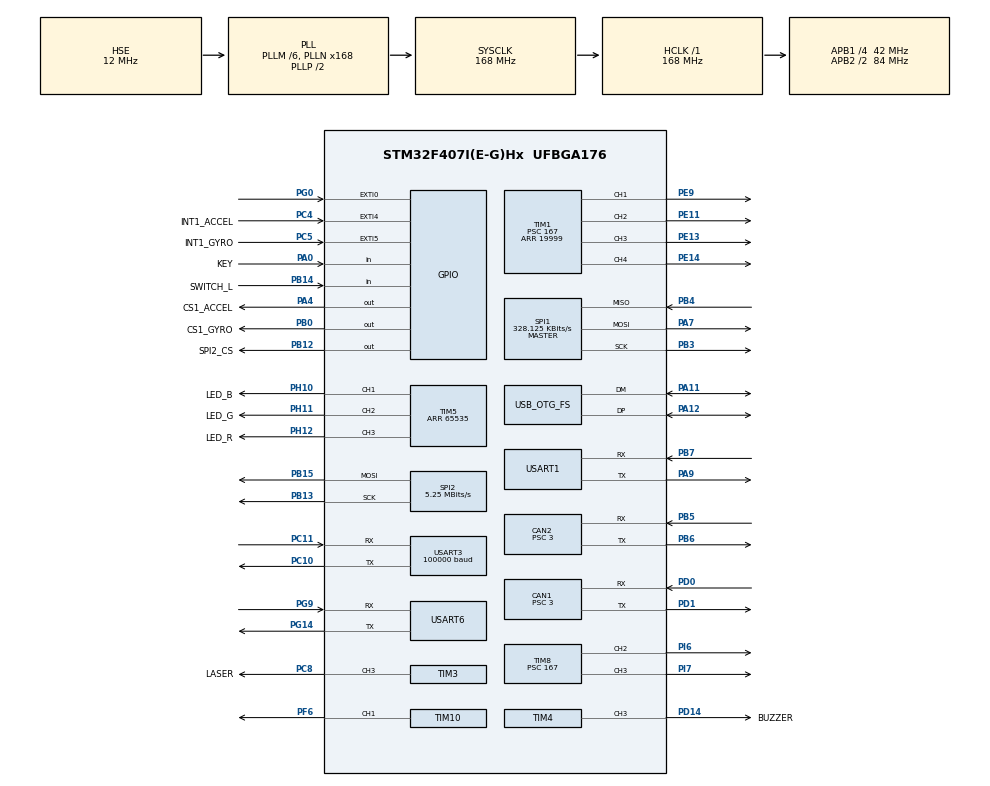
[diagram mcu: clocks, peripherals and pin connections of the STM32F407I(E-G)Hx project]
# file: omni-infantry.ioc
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ADC1.Channel-0\#ChannelRegularConversion=ADC_CHANNEL_TEMPSENSOR
ADC1.ClockPrescaler=ADC_CLOCK_SYNC_PCLK_DIV6
ADC1.NbrOfConversionFlag=1
ADC1.Rank-0\#ChannelRegularConversion=1
ADC1.SamplingTime-0\#ChannelRegularConversion=ADC_SAMPLETIME_3CYCLES
ADC1.master=1
CAN1.ABOM=ENABLE
CAN1.BS1=CAN_BS1_10TQ
CAN1.BS2=CAN_BS2_3TQ
CAN1.CalculateBaudRate=1000000
CAN1.CalculateTimeBit=1000
CAN1.CalculateTimeQuantum=71.42857142857143
CAN1.NART=ENABLE
CAN1.Prescaler=3
CAN1.RFLM=DISABLE
CAN2.ABOM=ENABLE
CAN2.BS1=CAN_BS1_10TQ
CAN2.BS2=CAN_BS2_3TQ
CAN2.CalculateBaudRate=1000000
CAN2.CalculateTimeBit=1000
CAN2.CalculateTimeQuantum=71.42857142857143
CAN2.NART=ENABLE
CAN2.Prescaler=3
Dma.Request0=SPI1_RX
Dma.Request1=SPI1_TX
Dma.Request2=USART3_RX
Dma.Request3=USART6_RX
Dma.Request4=USART6_TX
Dma.Request5=USART1_RX
Dma.Request6=USART1_TX
Dma.Request7=SPI2_TX
Dma.SPI1_RX.0.Direction=DMA_PERIPH_TO_MEMORY
Dma.SPI1_RX.0.FIFOMode=DMA_FIFOMODE_DISABLE
Dma.SPI1_RX.0.Instance=DMA2_Stream2
Dma.SPI1_RX.0.MemDataAlignment=DMA_MDATAALIGN_BYTE
Dma.SPI1_RX.0.MemInc=DMA_MINC_ENABLE
Dma.SPI1_RX.0.Mode=DMA_NORMAL
Dma.SPI1_RX.0.PeriphDataAlignment=DMA_PDATAALIGN_BYTE
Dma.SPI1_RX.0.PeriphInc=DMA_PINC_DISABLE
Dma.SPI1_RX.0.Priority=DMA_PRIORITY_VERY_HIGH
Dma.SPI1_TX.1.Direction=DMA_MEMORY_TO_PERIPH
Dma.SPI1_TX.1.FIFOMode=DMA_FIFOMODE_DISABLE
Dma.SPI1_TX.1.Instance=DMA2_Stream3
Dma.SPI1_TX.1.MemDataAlignment=DMA_MDATAALIGN_BYTE
Dma.SPI1_TX.1.MemInc=DMA_MINC_ENABLE
Dma.SPI1_TX.1.Mode=DMA_NORMAL
Dma.SPI1_TX.1.PeriphDataAlignment=DMA_PDATAALIGN_BYTE
Dma.SPI1_TX.1.PeriphInc=DMA_PINC_DISABLE
Dma.SPI1_TX.1.Priority=DMA_PRIORITY_HIGH
Dma.SPI2_TX.7.Direction=DMA_MEMORY_TO_PERIPH
Dma.SPI2_TX.7.FIFOMode=DMA_FIFOMODE_DISABLE
Dma.SPI2_TX.7.Instance=DMA1_Stream4
Dma.SPI2_TX.7.MemDataAlignment=DMA_MDATAALIGN_BYTE
Dma.SPI2_TX.7.MemInc=DMA_MINC_ENABLE
Dma.SPI2_TX.7.Mode=DMA_NORMAL
Dma.SPI2_TX.7.PeriphDataAlignment=DMA_PDATAALIGN_BYTE
Dma.SPI2_TX.7.PeriphInc=DMA_PINC_DISABLE
Dma.SPI2_TX.7.Priority=DMA_PRIORITY_LOW
Dma.USART1_RX.5.Direction=DMA_PERIPH_TO_MEMORY
Dma.USART1_RX.5.FIFOMode=DMA_FIFOMODE_DISABLE
Dma.USART1_RX.5.Instance=DMA2_Stream5
Dma.USART1_RX.5.MemDataAlignment=DMA_MDATAALIGN_BYTE
Dma.USART1_RX.5.MemInc=DMA_MINC_ENABLE
Dma.USART1_RX.5.Mode=DMA_NORMAL
Dma.USART1_RX.5.PeriphDataAlignment=DMA_PDATAALIGN_BYTE
Dma.USART1_RX.5.PeriphInc=DMA_PINC_DISABLE
Dma.USART1_RX.5.Priority=DMA_PRIORITY_HIGH
Dma.USART1_TX.6.Direction=DMA_MEMORY_TO_PERIPH
Dma.USART1_TX.6.FIFOMode=DMA_FIFOMODE_DISABLE
Dma.USART1_TX.6.Instance=DMA2_Stream7
Dma.USART1_TX.6.MemDataAlignment=DMA_MDATAALIGN_BYTE
Dma.USART1_TX.6.MemInc=DMA_MINC_ENABLE
Dma.USART1_TX.6.Mode=DMA_NORMAL
Dma.USART1_TX.6.PeriphDataAlignment=DMA_PDATAALIGN_BYTE
Dma.USART1_TX.6.PeriphInc=DMA_PINC_DISABLE
Dma.USART1_TX.6.Priority=DMA_PRIORITY_MEDIUM
Dma.USART3_RX.2.Direction=DMA_PERIPH_TO_MEMORY
Dma.USART3_RX.2.FIFOMode=DMA_FIFOMODE_DISABLE
Dma.USART3_RX.2.Instance=DMA1_Stream1
Dma.USART3_RX.2.MemDataAlignment=DMA_MDATAALIGN_BYTE
Dma.USART3_RX.2.MemInc=DMA_MINC_ENABLE
Dma.USART3_RX.2.Mode=DMA_NORMAL
Dma.USART3_RX.2.PeriphDataAlignment=DMA_PDATAALIGN_BYTE
Dma.USART3_RX.2.PeriphInc=DMA_PINC_DISABLE
Dma.USART3_RX.2.Priority=DMA_PRIORITY_HIGH
Dma.USART6_RX.3.Direction=DMA_PERIPH_TO_MEMORY
Dma.USART6_RX.3.FIFOMode=DMA_FIFOMODE_ENABLE
Dma.USART6_RX.3.FIFOThreshold=DMA_FIFO_THRESHOLD_FULL
Dma.USART6_RX.3.Instance=DMA2_Stream1
Dma.USART6_RX.3.MemBurst=DMA_MBURST_SINGLE
Dma.USART6_RX.3.MemDataAlignment=DMA_MDATAALIGN_BYTE
Dma.USART6_RX.3.MemInc=DMA_MINC_ENABLE
Dma.USART6_RX.3.Mode=DMA_NORMAL
Dma.USART6_RX.3.PeriphBurst=DMA_PBURST_SINGLE
Dma.USART6_RX.3.PeriphDataAlignment=DMA_PDATAALIGN_BYTE
Dma.USART6_RX.3.PeriphInc=DMA_PINC_DISABLE
Dma.USART6_RX.3.Priority=DMA_PRIORITY_HIGH
Dma.USART6_TX.4.Direction=DMA_MEMORY_TO_PERIPH
Dma.USART6_TX.4.FIFOMode=DMA_FIFOMODE_DISABLE
Dma.USART6_TX.4.Instance=DMA2_Stream6
Dma.USART6_TX.4.MemDataAlignment=DMA_MDATAALIGN_BYTE
Dma.USART6_TX.4.MemInc=DMA_MINC_ENABLE
Dma.USART6_TX.4.Mode=DMA_NORMAL
Dma.USART6_TX.4.PeriphDataAlignment=DMA_PDATAALIGN_BYTE
Dma.USART6_TX.4.PeriphInc=DMA_PINC_DISABLE
Dma.USART6_TX.4.Priority=DMA_PRIORITY_MEDIUM
FREERTOS.INCLUDE_eTaskGetState=1
FREERTOS.INCLUDE_pcTaskGetTaskName=1
FREERTOS.INCLUDE_uxTaskGetStackHighWaterMark=0
FREERTOS.INCLUDE_vTaskCleanUpResources=1
FREERTOS.INCLUDE_vTaskDelayUntil=1
FREERTOS.INCLUDE_xEventGroupSetBitFromISR=0
FREERTOS.INCLUDE_xQueueGetMutexHolder=1
FREERTOS.INCLUDE_xSemaphoreGetMutexHolder=1
FREERTOS.INCLUDE_xTaskAbortDelay=1
FREERTOS.INCLUDE_xTaskGetCurrentTaskHandle=1
FREERTOS.INCLUDE_xTaskGetHandle=1
FREERTOS.Tasks01=defaultTask,0,128,StartDefaultTask,Default,NULL,Dynamic,NULL,NULL;CalibrateTask,0,512,calibrate_task,As weak,NULL,Dynamic,NULL,NULL;ChassisTask,-2,512,chassis_task,As weak,NULL,Dynamic,NULL,NULL;gimbalTask,2,512,gimbal_task,As weak,NULL,Dynamic,NULL,NULL;imuTask,-3,512,INS_task,As weak,NULL,Dynamic,NULL,NULL;detectTask,-3,128,detect_task,As weak,NULL,Dynamic,NULL,NULL
FREERTOS.configCHECK_FOR_STACK_OVERFLOW=0
FREERTOS.configTOTAL_HEAP_SIZE=24576
FREERTOS.configUSE_NEWLIB_REENTRANT=0
Mcu.Family=STM32F4
Mcu.Name=STM32F407I(E-G)Hx
Mcu.Package=UFBGA176
NVIC.CAN1_RX0_IRQn=true\:5\:0\:false\:false\:true\:true\:true\:true\:true
NVIC.CAN2_RX0_IRQn=true\:5\:0\:false\:false\:true\:true\:true\:true\:true
NVIC.DMA1_Stream1_IRQn=true\:5\:0\:false\:false\:true\:true\:false\:true\:true
NVIC.DMA1_Stream4_IRQn=true\:5\:0\:false\:false\:true\:true\:false\:true\:true
NVIC.DMA2_Stream1_IRQn=true\:5\:0\:false\:false\:true\:true\:false\:true\:true
NVIC.DMA2_Stream2_IRQn=true\:5\:0\:false\:false\:false\:true\:false\:true\:true
NVIC.DMA2_Stream3_IRQn=true\:5\:0\:false\:false\:true\:true\:false\:true\:true
NVIC.DMA2_Stream5_IRQn=true\:5\:0\:false\:false\:true\:true\:false\:true\:true
NVIC.DMA2_Stream6_IRQn=true\:5\:0\:false\:false\:true\:true\:false\:true\:true
NVIC.DMA2_Stream7_IRQn=true\:5\:0\:false\:false\:true\:true\:false\:true\:true
NVIC.EXTI0_IRQn=true\:5\:0\:false\:false\:true\:true\:true\:true\:true
NVIC.EXTI4_IRQn=true\:5\:0\:false\:false\:true\:true\:true\:true\:true
NVIC.EXTI9_5_IRQn=true\:5\:0\:false\:false\:true\:true\:true\:true\:true
NVIC.OTG_FS_IRQn=true\:5\:0\:false\:false\:true\:true\:false\:true\:true
NVIC.PriorityGroup=NVIC_PRIORITYGROUP_4
NVIC.USART1_IRQn=true\:5\:0\:false\:false\:true\:true\:true\:true\:true
NVIC.USART3_IRQn=true\:5\:0\:false\:false\:false\:true\:true\:true\:true
NVIC.USART6_IRQn=true\:5\:0\:false\:false\:false\:true\:true\:true\:true
PA0-WKUP.GPIO_Label=KEY
PA0-WKUP.GPIO_PuPd=GPIO_PULLUP
PA0-WKUP.Signal=GPIO_Input
PA11.Mode=Device_Only
PA11.Signal=USB_OTG_FS_DM
PA12.Mode=Device_Only
PA12.Signal=USB_OTG_FS_DP
PA13.Mode=Serial_Wire
PA13.Signal=SYS_JTMS-SWDIO
PA14.Mode=Serial_Wire
PA14.Signal=SYS_JTCK-SWCLK
PA4.GPIO_Label=CS1_ACCEL
PA4.GPIO_PuPd=GPIO_PULLUP
PA4.GPIO_Speed=GPIO_SPEED_FREQ_HIGH
PA4.PinState=GPIO_PIN_SET
PA4.Signal=GPIO_Output
PA7.GPIO_PuPd=GPIO_PULLUP
PA7.Mode=Full_Duplex_Master
PA7.Signal=SPI1_MOSI
PA9.Mode=Asynchronous
PA9.Signal=USART1_TX
PB0.GPIO_Label=CS1_GYRO
PB0.GPIO_PuPd=GPIO_PULLUP
PB0.GPIO_Speed=GPIO_SPEED_FREQ_HIGH
PB0.PinState=GPIO_PIN_SET
PB0.Signal=GPIO_Output
PB12.GPIO_Label=SPI2_CS
PB12.GPIO_PuPd=GPIO_PULLUP
PB12.GPIO_Speed=GPIO_SPEED_FREQ_MEDIUM
PB12.PinState=GPIO_PIN_SET
PB12.Signal=GPIO_Output
PB13.Mode=TX_Only_Simplex_Unidirect_Master
PB13.Signal=SPI2_SCK
PB14.GPIO_Label=SWITCH_L
PB14.GPIO_PuPd=GPIO_PULLDOWN
PB14.Signal=GPIO_Input
PB15.Mode=TX_Only_Simplex_Unidirect_Master
PB15.Signal=SPI2_MOSI
PB3.GPIO_PuPd=GPIO_PULLUP
PB3.Mode=Full_Duplex_Master
PB3.Signal=SPI1_SCK
PB4.GPIO_PuPd=GPIO_PULLUP
PB4.Mode=Full_Duplex_Master
PB4.Signal=SPI1_MISO
PB5.GPIO_PuPd=GPIO_PULLUP
PB5.Mode=CAN_Activate
PB5.Signal=CAN2_RX
PB6.GPIO_PuPd=GPIO_PULLUP
PB6.Mode=CAN_Activate
PB6.Signal=CAN2_TX
PB7.Mode=Asynchronous
PB7.Signal=USART1_RX
PC10.Mode=Asynchronous
PC10.Signal=USART3_TX
PC11.Mode=Asynchronous
PC11.Signal=USART3_RX
PC4.GPIO_Label=INT1_ACCEL
PC4.GPIO_ModeDefaultEXTI=GPIO_MODE_IT_FALLING
PC4.GPIO_PuPd=GPIO_PULLUP
PC4.Signal=GPXTI4
PC5.GPIO_Label=INT1_GYRO
PC5.GPIO_ModeDefaultEXTI=GPIO_MODE_IT_FALLING
PC5.GPIO_PuPd=GPIO_PULLUP
PC5.Signal=GPXTI5
PC8.GPIO_Label=LASER
PC8.GPIO_PuPd=GPIO_PULLUP
PC8.GPIO_Speed=GPIO_SPEED_FREQ_HIGH
PC8.Signal=S_TIM3_CH3
PD0.GPIO_PuPd=GPIO_PULLUP
PD0.Mode=CAN_Activate
PD0.Signal=CAN1_RX
PD1.GPIO_PuPd=GPIO_PULLUP
PD1.Mode=CAN_Activate
PD1.Signal=CAN1_TX
PD14.GPIO_Label=BUZZER
PD14.GPIO_PuPd=GPIO_PULLUP
PD14.GPIO_Speed=GPIO_SPEED_FREQ_VERY_HIGH
PD14.Signal=S_TIM4_CH3
PE11.Signal=S_TIM1_CH2
PE13.Signal=S_TIM1_CH3
PE14.Signal=S_TIM1_CH4
PE9.GPIO_PuPd=GPIO_PULLUP
PE9.GPIO_Speed=GPIO_SPEED_FREQ_HIGH
PE9.Signal=S_TIM1_CH1
PF6.GPIO_PuPd=GPIO_PULLUP
PF6.GPIO_Speed=GPIO_SPEED_FREQ_HIGH
PF6.Signal=S_TIM10_CH1
PG0.GPIO_ModeDefaultEXTI=GPIO_MODE_IT_FALLING
PG0.GPIO_PuPd=GPIO_PULLUP
PG0.Signal=GPXTI0
PG14.Mode=Asynchronous
PG14.Signal=USART6_TX
PG9.Mode=Asynchronous
PG9.Signal=USART6_RX
PH0-OSC_IN.Mode=HSE-External-Oscillator
PH0-OSC_IN.Signal=RCC_OSC_IN
PH1-OSC_OUT.Mode=HSE-External-Oscillator
PH1-OSC_OUT.Signal=RCC_OSC_OUT
PH10.GPIO_Label=LED_B
PH10.GPIO_PuPd=GPIO_PULLUP
PH10.GPIO_Speed=GPIO_SPEED_FREQ_HIGH
PH10.Signal=S_TIM5_CH1
PH11.GPIO_Label=LED_G
PH11.GPIO_PuPd=GPIO_PULLUP
PH11.GPIO_Speed=GPIO_SPEED_FREQ_HIGH
PH11.Signal=S_TIM5_CH2
PH12.GPIO_Label=LED_R
PH12.GPIO_PuPd=GPIO_PULLUP
PH12.GPIO_Speed=GPIO_SPEED_FREQ_HIGH
PH12.Signal=S_TIM5_CH3
PI6.GPIO_PuPd=GPIO_PULLUP
PI6.GPIO_Speed=GPIO_SPEED_FREQ_VERY_HIGH
PI6.Signal=S_TIM8_CH2
PI7.GPIO_PuPd=GPIO_PULLUP
PI7.GPIO_Speed=GPIO_SPEED_FREQ_VERY_HIGH
PI7.Signal=S_TIM8_CH3
ProjectManager.HeapSize=0x2000
ProjectManager.StackSize=0x2000
ProjectManager.TargetToolchain=STM32CubeIDE
RCC.48MHZClocksFreq_Value=48000000
RCC.AHBFreq_Value=168000000
RCC.APB1CLKDivider=RCC_HCLK_DIV4
RCC.APB1Freq_Value=42000000
RCC.APB1TimFreq_Value=84000000
RCC.APB2CLKDivider=RCC_HCLK_DIV2
RCC.APB2Freq_Value=84000000
RCC.APB2TimCLKDivider=2
RCC.APB2TimFreq_Value=168000000
RCC.CortexFreq_Value=168000000
RCC.HCLKFreq_Value=168000000
RCC.HSE_VALUE=12000000
RCC.HSI_VALUE=16000000
RCC.LSE_VALUE=32768
RCC.PLLM=6
RCC.PLLN=168
RCC.PLLQ=7
RCC.RCC_RTC_Clock_SourceVirtual=RCC_RTCCLKSOURCE_HSE_DIV30
RCC.RCC_RTC_Clock_Source_FROM_HSE=RCC_RTCCLKSOURCE_HSE_DIV30
RCC.SYSCLKFreq_VALUE=168000000
RCC.SYSCLKSource=RCC_SYSCLKSOURCE_PLLCLK
RCC.VCOOutputFreq_Value=336000000
SH.S_TIM10_CH1.0=TIM10_CH1,PWM Generation1 CH1
SH.S_TIM1_CH1.0=TIM1_CH1,PWM Generation1 CH1
SH.S_TIM1_CH2.0=TIM1_CH2,PWM Generation2 CH2
SH.S_TIM1_CH3.0=TIM1_CH3,PWM Generation3 CH3
SH.S_TIM1_CH4.0=TIM1_CH4,PWM Generation4 CH4
SH.S_TIM3_CH3.0=TIM3_CH3,PWM Generation3 CH3
SH.S_TIM4_CH3.0=TIM4_CH3,PWM Generation3 CH3
SH.S_TIM5_CH1.0=TIM5_CH1,PWM Generation1 CH1
SH.S_TIM5_CH2.0=TIM5_CH2,PWM Generation2 CH2
SH.S_TIM5_CH3.0=TIM5_CH3,PWM Generation3 CH3
SH.S_TIM8_CH2.0=TIM8_CH2,PWM Generation2 CH2
SH.S_TIM8_CH3.0=TIM8_CH3,PWM Generation3 CH3
SPI1.BaudRatePrescaler=SPI_BAUDRATEPRESCALER_256
SPI1.CLKPhase=SPI_PHASE_2EDGE
SPI1.CLKPolarity=SPI_POLARITY_HIGH
SPI1.CalculateBaudRate=328.125 KBits/s
SPI1.Direction=SPI_DIRECTION_2LINES
SPI1.Mode=SPI_MODE_MASTER
SPI1.VirtualType=VM_MASTER
SPI2.BaudRatePrescaler=SPI_BAUDRATEPRESCALER_8
SPI2.CLKPhase=SPI_PHASE_2EDGE
SPI2.CalculateBaudRate=5.25 MBits/s
SPI2.Direction=SPI_DIRECTION_2LINES
SPI2.Mode=SPI_MODE_MASTER
SPI2.VirtualType=VM_MASTER
TIM1.Channel-PWM\ Generation1\ CH1=TIM_CHANNEL_1
TIM1.Channel-PWM\ Generation2\ CH2=TIM_CHANNEL_2
TIM1.Channel-PWM\ Generation3\ CH3=TIM_CHANNEL_3
TIM1.Channel-PWM\ Generation4\ CH4=TIM_CHANNEL_4
TIM1.Period=19999
TIM1.Prescaler=167
TIM1.Pulse-PWM\ Generation1\ CH1=1000
TIM10.Channel=TIM_CHANNEL_1
TIM10.Period=4999
TIM3.Channel-PWM\ Generation3\ CH3=TIM_CHANNEL_3
TIM3.Period=8399
TIM4.Channel-PWM\ Generation3\ CH3=TIM_CHANNEL_3
TIM4.Prescaler=167
TIM5.Channel-PWM\ Generation1\ CH1=TIM_CHANNEL_1
TIM5.Channel-PWM\ Generation2\ CH2=TIM_CHANNEL_2
TIM5.Channel-PWM\ Generation3\ CH3=TIM_CHANNEL_3
TIM5.Period=65535
TIM8.AutoReloadPreload=TIM_AUTORELOAD_PRELOAD_ENABLE
TIM8.Channel-PWM\ Generation2\ CH2=TIM_CHANNEL_2
TIM8.Channel-PWM\ Generation3\ CH3=TIM_CHANNEL_3
TIM8.Period=3996
TIM8.Prescaler=167
TIM8.Pulse-PWM\ Generation2\ CH2=1500
TIM8.Pulse-PWM\ Generation3\ CH3=1500
USART1.VirtualMode=VM_ASYNC
USART3.BaudRate=100000
USART3.Mode=MODE_RX
USART3.Parity=PARITY_EVEN
USART3.VirtualMode=VM_ASYNC
USART6.VirtualMode=VM_ASYNC
USB_DEVICE.CLASS_NAME_FS=CDC
USB_DEVICE.VirtualMode-CDC_FS=Cdc
USB_DEVICE.VirtualModeFS=Cdc_FS
USB_OTG_FS.VirtualMode=Device_Only
VP_ADC1_TempSens_Input.Mode=IN-TempSens
VP_ADC1_Vref_Input.Mode=IN-Vrefint
VP_CRC_VS_CRC.Mode=CRC_Activate
VP_FREERTOS_VS_CMSIS_V1.Mode=CMSIS_V1
VP_RNG_VS_RNG.Mode=RNG_Activate
VP_TIM10_VS_ClockSourceINT.Mode=Enable_Timer
VP_TIM4_VS_ClockSourceINT.Mode=Internal
VP_TIM5_VS_ClockSourceINT.Mode=Internal
VP_USB_DEVICE_VS_USB_DEVICE_CDC_FS.Mode=CDC_FS
board=custom

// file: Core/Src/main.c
/* USER CODE BEGIN Header */
/**
  ******************************************************************************
  * @file           : main.c
  * @brief          : Main program body
  ******************************************************************************
  * @attention
  *
  * Copyright (c) 2022 STMicroelectronics.
  * All rights reserved.
  *
  * This software is licensed under terms that can be found in the LICENSE file
  * in the root directory of this software component.
  * If no LICENSE file comes with this software, it is provided AS-IS.
  *
  ******************************************************************************
  */
/* USER CODE END Header */
#include "main.h"
#include "cmsis_os.h"
#include "adc.h"
#include "can.h"
#include "crc.h"
#include "dma.h"
#include "rng.h"
#include "spi.h"
#include "tim.h"
#include "usart.h"
#include "usb_device.h"
#include "gpio.h"

/* USER CODE BEGIN Includes */
#include "bsp_can.h"
#include "bsp_delay.h"
#include "bsp_usart.h"
#include "remote.h"
#include "Referee.h"
#include "Calibrate.h"
#include "Lora.h"
/* USER CODE END Includes */

/* USER CODE BEGIN PTD */
extern uint8_t usart1_receive_buf[200];
/* USER CODE END PTD */

void SystemClock_Config(void);
void MX_FREERTOS_Init(void);

int main(void)
{

  /* MCU Configuration--------------------------------------------------------*/

  /* Reset of all peripherals, Initializes the Flash interface and the Systick. */
  HAL_Init();

  /* Configure the system clock */
  SystemClock_Config();

  /* Initialize all configured peripherals */
  MX_GPIO_Init();
  MX_DMA_Init();
  MX_CAN1_Init();
  MX_CAN2_Init();
  MX_SPI1_Init();
  MX_TIM4_Init();
  MX_TIM5_Init();
  MX_USART3_UART_Init();
  MX_USART6_UART_Init();
  MX_TIM3_Init();
  MX_TIM10_Init();
  MX_ADC1_Init();
  MX_CRC_Init();
  MX_RNG_Init();
  MX_TIM1_Init();
  MX_TIM8_Init();
  MX_USART1_UART_Init();
  MX_SPI2_Init();
  /* USER CODE BEGIN 2 */
    can_filter_init();
    delay_init();
    HAL_TIM_PWM_Start(&htim8,TIM_CHANNEL_3);
    HAL_TIM_PWM_Start(&htim8,TIM_CHANNEL_2);
    HAL_TIM_Base_Start(&htim1);
    HAL_TIM_PWM_Start(&htim1,TIM_CHANNEL_3);
    HAL_TIM_PWM_Start(&htim1,TIM_CHANNEL_4);
    usart6_init(&usart6_buf[0], REFEREE_BUFFER_SIZE);
    usart1_init(&usart1_buf[0], REFEREE_BUFFER_SIZE);

    cali_param_init();
    remote_control_init();

    LoRa_T_P_Attach(1, 1);
  /* USER CODE END 2 */

  /* Call init function for freertos objects (in freertos.c) */
  MX_FREERTOS_Init();

  /* Start scheduler */
  osKernelStart();

  /* We should never get here as control is now taken by the scheduler */
  /* Infinite loop */
  while (1)
  {

  }
}

void SystemClock_Config(void)
{
  RCC_OscInitTypeDef RCC_OscInitStruct = {0};
  RCC_ClkInitTypeDef RCC_ClkInitStruct = {0};

  /** Configure the main internal regulator output voltage
  */
  __HAL_RCC_PWR_CLK_ENABLE();
  __HAL_PWR_VOLTAGESCALING_CONFIG(PWR_REGULATOR_VOLTAGE_SCALE1);

  /** Initializes the RCC Oscillators according to the specified parameters
  * in the RCC_OscInitTypeDef structure.
  */
  RCC_OscInitStruct.OscillatorType = RCC_OSCILLATORTYPE_HSE;
  RCC_OscInitStruct.HSEState = RCC_HSE_ON;
  RCC_OscInitStruct.PLL.PLLState = RCC_PLL_ON;
  RCC_OscInitStruct.PLL.PLLSource = RCC_PLLSOURCE_HSE;
  RCC_OscInitStruct.PLL.PLLM = 6;
  RCC_OscInitStruct.PLL.PLLN = 168;
  RCC_OscInitStruct.PLL.PLLP = RCC_PLLP_DIV2;
  RCC_OscInitStruct.PLL.PLLQ = 7;
  if (HAL_RCC_OscConfig(&RCC_OscInitStruct) != HAL_OK)
  {
    Error_Handler();
  }

  /** Initializes the CPU, AHB and APB buses clocks
  */
  RCC_ClkInitStruct.ClockType = RCC_CLOCKTYPE_HCLK|RCC_CLOCKTYPE_SYSCLK
                              |RCC_CLOCKTYPE_PCLK1|RCC_CLOCKTYPE_PCLK2;
  RCC_ClkInitStruct.SYSCLKSource = RCC_SYSCLKSOURCE_PLLCLK;
  RCC_ClkInitStruct.AHBCLKDivider = RCC_SYSCLK_DIV1;
  RCC_ClkInitStruct.APB1CLKDivider = RCC_HCLK_DIV4;
  RCC_ClkInitStruct.APB2CLKDivider = RCC_HCLK_DIV2;

  if (HAL_RCC_ClockConfig(&RCC_ClkInitStruct, FLASH_LATENCY_5) != HAL_OK)
  {
    Error_Handler();
  }
}

void Error_Handler(void)
{
  /* USER CODE BEGIN Error_Handler_Debug */
  /* User can add his own implementation to report the HAL error return state */
//  __disable_irq();
//  while (1)
//  {
//  }
  /* USER CODE END Error_Handler_Debug */
}

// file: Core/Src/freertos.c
/* USER CODE BEGIN Header */
/**
  ******************************************************************************
  * File Name          : freertos.c
  * Description        : Code for freertos applications
  ******************************************************************************
  * @attention
  *
  * Copyright (c) 2022 STMicroelectronics.
  * All rights reserved.
  *
  * This software is licensed under terms that can be found in the LICENSE file
  * in the root directory of this software component.
  * If no LICENSE file comes with this software, it is provided AS-IS.
  *
  ******************************************************************************
  */
/* USER CODE END Header */

#include "FreeRTOS.h"
#include "task.h"
#include "main.h"
#include "cmsis_os.h"

osThreadId defaultTaskHandle;
osThreadId CalibrateTaskHandle;
osThreadId ChassisTaskHandle;
osThreadId gimbalTaskHandle;
osThreadId imuTaskHandle;
osThreadId detectTaskHandle;
osThreadId ledTaskHandle;

/* USER CODE BEGIN FunctionPrototypes */
osThreadId usb_task_handle;
osThreadId decode_task_handle;
osThreadId cap_task_handle;
osThreadId UI_task_handle;
osThreadId servo_task_handle;
/* USER CODE END FunctionPrototypes */

void StartDefaultTask(void const * argument);
void calibrate_task(void const * argument);
void chassis_task(void const * argument);
void gimbal_task(void const * argument);
void INS_task(void const * argument);
void detect_task(void const * argument);
void led_task(void const * argument);
extern void MX_USB_DEVICE_Init(void);
void MX_FREERTOS_Init(void); /* (MISRA C 2004 rule 8.1) */
void UI_paint_task(void const*argument);
void cap_task(void const *pvParameters);
void servo_task(void const *pvParameters);
/* GetIdleTaskMemory prototype (linked to static allocation support) */
void vApplicationGetIdleTaskMemory( StaticTask_t **ppxIdleTaskTCBBuffer, StackType_t **ppxIdleTaskStackBuffer, uint32_t *pulIdleTaskStackSize );

/* USER CODE BEGIN GET_IDLE_TASK_MEMORY */
static StaticTask_t xIdleTaskTCBBuffer;
static StackType_t xIdleStack[configMINIMAL_STACK_SIZE];

void vApplicationGetIdleTaskMemory( StaticTask_t **ppxIdleTaskTCBBuffer, StackType_t **ppxIdleTaskStackBuffer, uint32_t *pulIdleTaskStackSize )
{
  *ppxIdleTaskTCBBuffer = &xIdleTaskTCBBuffer;
  *ppxIdleTaskStackBuffer = &xIdleStack[0];
  *pulIdleTaskStackSize = configMINIMAL_STACK_SIZE;
  /* place for user code */
}
QueueHandle_t CDC_send_queue;

_Noreturn extern void usb_task(void const * argument);
extern void decode_task(void const * arg);
/* USER CODE END GET_IDLE_TASK_MEMORY */

void MX_FREERTOS_Init(void) {

  /* Create the thread(s) */
  /* definition and creation of defaultTask */
  osThreadDef(defaultTask, StartDefaultTask, osPriorityNormal, 0, 128);
  defaultTaskHandle = osThreadCreate(osThread(defaultTask), NULL);

  /* definition and creation of CalibrateTask */
  osThreadDef(CalibrateTask, calibrate_task, osPriorityNormal, 0, 512);
  CalibrateTaskHandle = osThreadCreate(osThread(CalibrateTask), NULL);

  /* definition and creation of ChassisTask */
  osThreadDef(ChassisTask, chassis_task, osPriorityLow, 0, 512);
  ChassisTaskHandle = osThreadCreate(osThread(ChassisTask), NULL);

  /* definition and creation of gimbalTask */
  osThreadDef(gimbalTask, gimbal_task, osPriorityHigh, 0, 512);
  gimbalTaskHandle = osThreadCreate(osThread(gimbalTask), NULL);

  /* definition and creation of imuTask */
  osThreadDef(imuTask, INS_task, osPriorityIdle, 0, 512);
  imuTaskHandle = osThreadCreate(osThread(imuTask), NULL);

  /* definition and creation of detectTask */
  osThreadDef(detectTask, detect_task, osPriorityIdle, 0, 128);
  detectTaskHandle = osThreadCreate(osThread(detectTask), NULL);

  /* USER CODE BEGIN RTOS_THREADS */
  /* add threads, ... */
    osThreadDef(USBtask,usb_task,osPriorityHigh,0,128);
    usb_task_handle= osThreadCreate(osThread(USBtask),NULL);
    osThreadDef(DecodeTask, decode_task, osPriorityHigh, 0, 128);
    decode_task_handle = osThreadCreate(osThread(DecodeTask), NULL);
    CDC_send_queue = xQueueCreate(1, 128);

    osThreadDef(CapTask,cap_task,osPriorityAboveNormal,0,256);
    cap_task_handle=osThreadCreate(osThread(CapTask),NULL);

    osThreadDef(UIPaintTask, UI_paint_task,osPriorityNormal,0,256);
    UI_task_handle= osThreadCreate(osThread(UIPaintTask),NULL);

    /* definition and creation of ledTask */
    osThreadDef(ledTask, led_task, osPriorityLow, 0, 128);
    ledTaskHandle = osThreadCreate(osThread(ledTask), NULL);

    osThreadDef(servoTask, servo_task, osPriorityLow, 0, 128);
    servo_task_handle = osThreadCreate(osThread(servoTask), NULL);
  /* USER CODE END RTOS_THREADS */

}

void StartDefaultTask(void const * argument)
{
  /* init code for USB_DEVICE */
  MX_USB_DEVICE_Init();
  for(;;)
  {
    osDelay(1);
  }
}

__weak void calibrate_task(void const * argument)
{
  for(;;)
  {
    osDelay(1);
  }
}

__weak void chassis_task(void const * argument)
{
  for(;;)
  {
    osDelay(1);
  }
}

__weak void gimbal_task(void const * argument)
{
  for(;;)
  {
    osDelay(1);
  }
}

__weak void INS_task(void const * argument)
{
  for(;;)
  {
    osDelay(1);
  }
}

__weak void detect_task(void const * argument)
{
  for(;;)
  {
    osDelay(1);
  }
}
